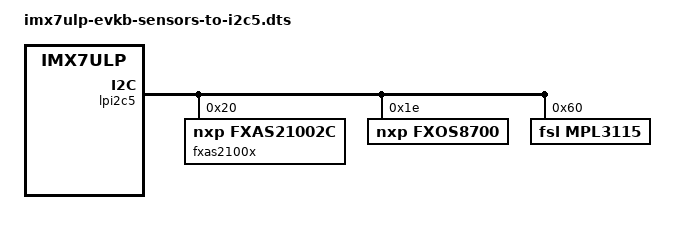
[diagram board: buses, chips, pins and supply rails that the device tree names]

#include "imx7ulp-evkb.dts"

&lpi2c5 {

	fxas2100x@20 {
		compatible = "nxp,fxas21002c";
		reg = <0x20>;
	};

	fxos8700@1e {
		compatible = "nxp,fxos8700";
		reg = <0x1e>;
	};

	mpl3115@60 {
		compatible = "fsl,mpl3115";
		reg = <0x60>;
	};

};
